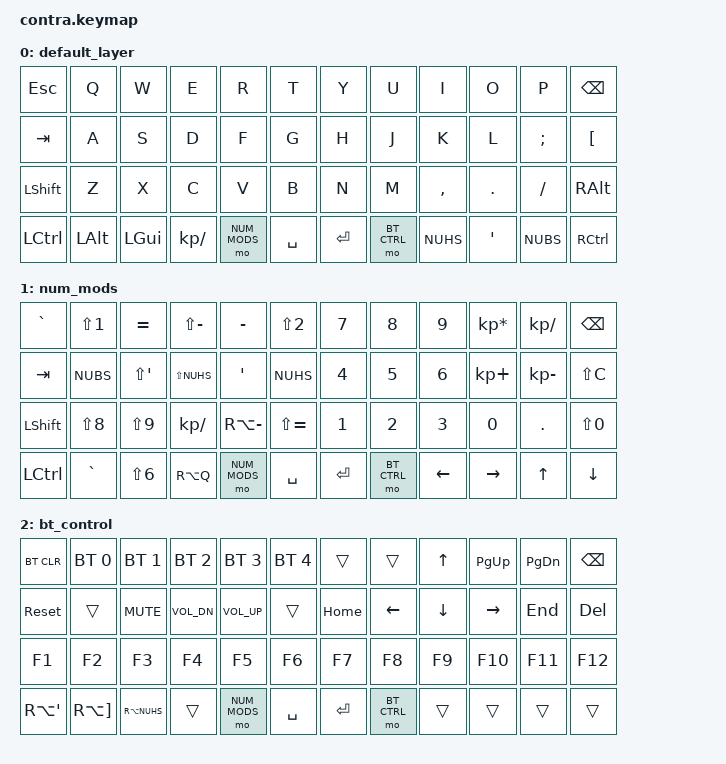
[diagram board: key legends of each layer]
/*
 * Copyright (c) 2021 The ZMK Contributors
 *
 * SPDX-License-Identifier: MIT
 */

#include <behaviors.dtsi>
#include <dt-bindings/zmk/keys.h>
#include <dt-bindings/zmk/bt.h>

#define DEFAULT  0
#define NUM_MODS 1
#define BT_CTRL  2

/ {
    keymap {
        compatible = "zmk,keymap";

/* Default
* ,-----------------------------------------------------------------------------------.
* |Escape|   Q  |   W  |   E  |   R  |   T  |   Y  |   U  |   I  |   O  |   P  |BackSp|
* |------+------+------+------+------+------|------+------+------+------+------+------|
* |Tab   |   A  |   S  |   D  |   F  |   G  |   H  |   J  |   K  |   L  |   Ñ  |  ´   |
* |------+------+------+------+------+------|------+------+------+------+------+------|
* |LShift|   Z  |   X  |   C  |   V  |   B  |   N  |   M  |  ,;  |  .:  |  -_  |RAlt  |
* |------+------+------+------+------+------|------+------+------+------+------+------|
* |LCTRL | LAlt | LGUI |  /\  |Lower |Space |Enter |Raise |  {[  |  }]  |  <>  |RCTRL |
* `-----------------------------------------------------------------------------------'
*/

        default_layer {
            bindings = <
    &kp ESC   &kp Q     &kp W    &kp E        &kp R        &kp T      &kp Y     &kp U        &kp I        &kp O       &kp P    &kp BSPC
    &kp TAB   &kp A     &kp S    &kp D        &kp F        &kp G      &kp H     &kp J        &kp K        &kp L       &kp SEMI &kp LBKT
    &kp LSHFT &kp Z     &kp X    &kp C        &kp V        &kp B      &kp N     &kp M        &kp COMMA    &kp DOT     &kp FSLH &kp RALT
    &kp LCTRL &kp LALT  &kp LGUI &kp KP_SLASH &mo NUM_MODS &kp SPACE  &kp ENTER &mo BT_CTRL  &kp NUHS     &kp APOS    &kp NUBS &kp RCTRL
            >;
        };

/* Default
* ,-----------------------------------------------------------------------------------.
* |Escape|  !   |  ¿   |   ?  |   '  |  "   |   7  |   8  |   9  |   *  |  /   |BackSp|
* |------+------+------+------+------+------|------+------+------+------+------+------|
* |Tab   |  <>  |  [   |   ]  |   {  |  }   |   4  |   5  |   6  |   +  |  -   |  C   |
* |------+------+------+------+------+------|------+------+------+------+------+------|
* |LShift|  (   |  )   |   /  |   \  |  ¡   |   1  |   2  |   3  |   0  |  .   |  =   |
* |------+------+------+------+------+------|------+------+------+------+------+------|
* |LCTRL |  |   |  &   |   @  |Lower |Space |Enter |Raise | LEFT |RIGTH |  UP  | DOWN |
* `-----------------------------------------------------------------------------------'
*/
        num_mods {
            bindings = <
    &kp GRAVE &kp LS(N1) &kp EQUAL    &kp LS(MINUS) &kp MINUS     &kp LS(N2)    &kp N7    &kp N8      &kp N9    &kp KP_MULTIPLY &kp KP_DIVIDE &kp BSPC
    &kp TAB   &kp NUBS   &kp LS(APOS) &kp LS(NUHS)  &kp APOS      &kp NUHS      &kp N4    &kp N5      &kp N6    &kp KP_PLUS     &kp KP_MINUS  &kp LS(C)
    &kp LSHFT &kp LS(N8) &kp LS(N9)   &kp KP_DIVIDE &kp RA(MINUS) &kp LS(EQUAL) &kp N1    &kp N2      &kp N3    &kp N0          &kp DOT       &kp LS(N0)
    &kp LCTRL &kp GRAVE  &kp LS(N6)   &kp RA(Q)     &mo NUM_MODS  &kp SPACE     &kp ENTER &mo BT_CTRL &kp LEFT  &kp RIGHT       &kp UP        &kp DOWN
            >;
        };
/* Default
* ,-----------------------------------------------------------------------------------.
* |BTCler|  BL0 |  BL1 | BL2  | BL3  | BL4  |      |      |  Up  |PG Up |PGDown|BackSp|
* |------+------+------+------+------+------|------+------+------+------+------+------|
* |Reset |      | Mute | VOL- | VOL+ |      | Home | Left | Down |Right | End  | DEL  |
* |------+------+------+------+------+------|------+------+------+------+------+------|
* |  F1  |  F2  |  F3  |  F4  |  F5  |  F6  |  F7  |  F8  |  F9  | F10  | F11  | F12  |
* |------+------+------+------+------+------|------+------+------+------+------+------|
* |  ^   |  ~   |   `  |      |Lower |Space |Enter |Raise |      |      |      |      |
* `-----------------------------------------------------------------------------------'
*/
        bt_control {
            bindings = <
    &bt BT_CLR  &bt BT_SEL 0 &bt BT_SEL 1 &bt BT_SEL 2 &bt BT_SEL 3    &bt BT_SEL 4 &trans      &trans    &kp UP     &kp PG_UP  &kp PG_DN &kp BSPC
    &sys_reset  &trans       &kp C_MUTE   &kp C_VOL_DN &kp C_VOLUME_UP &trans       &kp HOME    &kp LEFT  &kp DOWN   &kp RIGHT  &kp END   &kp DEL
    &kp F1      &kp F2       &kp F3       &kp F4       &kp F5          &kp F6       &kp F7      &kp F8    &kp F9     &kp F10    &kp F11   &kp F12
    &kp RA(SQT) &kp RA(RBKT) &kp RA(NUHS) &trans       &mo NUM_MODS    &kp SPACE    &kp ENTER   &mo BT_CTRL  &trans     &trans     &trans    &trans
            >;
        };
    };
};
